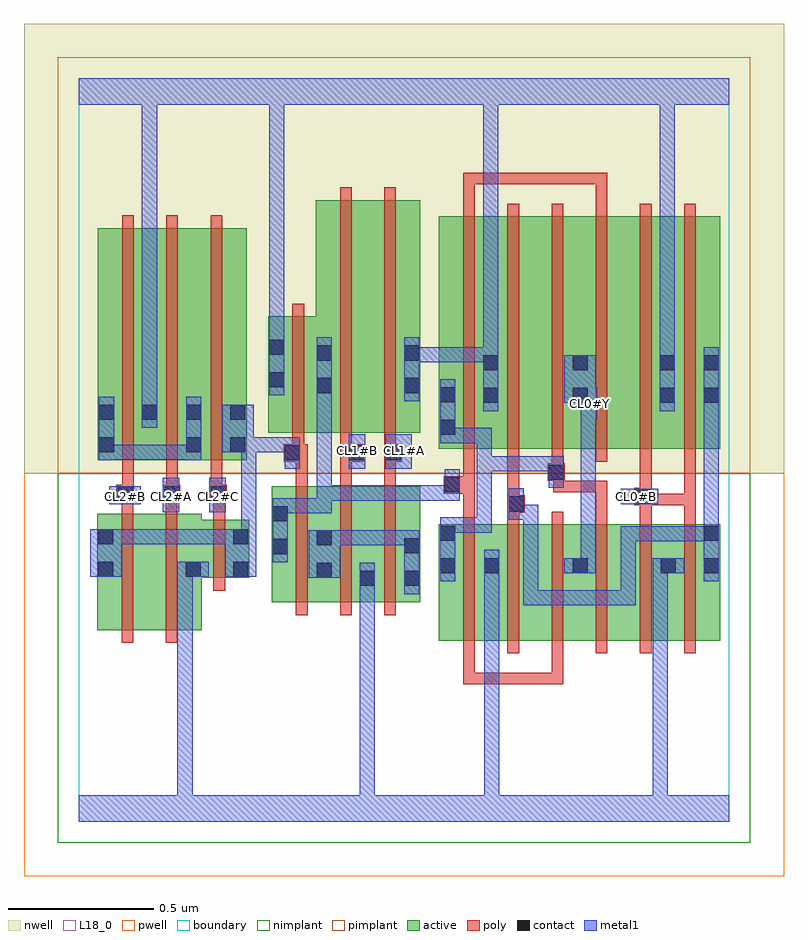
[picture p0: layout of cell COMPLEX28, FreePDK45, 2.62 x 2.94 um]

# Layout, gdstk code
import gdstk
lib = gdstk.Library(unit=1e-6, precision=1e-09)
def R(c, l, rs):  # rectangles x0, y0, x1, y1
    for r in rs: c.add(gdstk.rectangle(r[:2], r[2:], *l))
def A(c, l, x, y, w, h, nx, ny, dx, dy):  # array of equal rectangles
    R(c, l, [(x+i*dx, y+j*dy, x+i*dx+w, y+j*dy+h) for i in range(nx) for j in range(ny)])
active = (1, 0)
pwell = (2, 0)
nwell = (3, 0)
nimplant = (4, 0)
pimplant = (5, 0)
poly = (9, 0)
contact = (10, 0)
metal1 = (11, 0)
L18_0 = (18, 0)
boundary = (235, 0)

complex28 = lib.new_cell('COMPLEX28')
R(complex28, active, [(1.24,0.624,1.3,1.024), (1.24,0.624,1.452,1.024), (1.392,0.624,1.572,1.024), (1.572,0.624,1.756,1.024), (1.696,0.624,1.756,1.024), (1.696,0.624,1.876,1.024), (1.876,0.624,2.06,1.024), (2,0.624,2.208,1.024), (2,0.624,2.06,0.912), (2.148,0.624,2.208,1.024), (0.064,0.66,0.244,1.06), (0.244,0.66,0.424,1.06), (0.064,0.756,0.124,1.06), (0.664,0.756,0.724,1.156), (0.664,0.756,0.876,1.156), (0.816,0.756,1.024,1.156), (0.816,0.756,0.876,1.008), (0.964,0.756,1.176,1.156), (0.964,0.756,1.024,0.928), (1.116,0.756,1.176,1.156), (1.392,0.756,1.452,0.912), (0.364,0.84,0.588,1.04), (0.364,0.84,0.424,0.9), (0.528,0.84,0.588,1.04), (0.066,1.244,0.274,2.044), (0.066,1.244,0.126,2.044), (0.214,1.244,0.426,2.044), (0.366,1.244,0.578,2.044), (0.366,1.244,0.426,2.044), (0.518,1.244,0.578,2.044), (1.24,1.284,1.3,2.044), (1.24,1.284,1.448,2.084), (1.388,1.284,1.572,2.084), (1.572,1.284,1.756,2.084), (1.696,1.284,1.756,2.044), (1.696,1.284,1.876,2.084), (1.876,1.284,2.056,2.084), (1.996,1.284,2.056,2.044), (1.996,1.284,2.208,2.084), (2.148,1.284,2.208,2.044), (0.214,1.31,0.274,2.044), (0.652,1.34,0.712,1.74), (0.652,1.34,0.876,1.74), (0.816,1.34,0.996,2.14), (0.996,1.34,1.176,2.14), (1.116,1.34,1.176,2.14), (1.388,1.35,1.448,2.044), (0.816,1.472,0.876,1.644)])
R(complex28, pwell, [(-0.188,-0.188,2.428,1.2)])
R(complex28, nwell, [(-0.188,1.2,2.428,2.748)])
R(complex28, nimplant, [(-0.072,-0.072,2.312,1.2)])
R(complex28, pimplant, [(-0.072,1.2,2.312,2.632)])
A(complex28, poly, 1.324, 0.58, 0.04, 0.488, 6, 1, 0.152, 0)
A(complex28, poly, 0.748, 0.712, 0.04, 0.488, 3, 1, 0.152, 0)
A(complex28, poly, 0.13, 1.1, 0.06, 0.06, 3, 1, 0.16, 0)
A(complex28, poly, 0.15, 1.12, 0.04, 0.12, 3, 1, 0.152, 0)
A(complex28, poly, 0.748, 1.16, 0.04, 0.12, 3, 1, 0.152, 0)
A(complex28, poly, 0.15, 1.2, 0.04, 0.888, 3, 1, 0.152, 0)
A(complex28, poly, 1.324, 1.24, 0.04, 0.888, 6, 1, 0.152, 0)
R(complex28, poly, [(1.324,0.474,1.364,0.514), (1.324,0.474,1.364,0.514), (1.324,0.474,1.364,0.514), (1.324,0.474,1.364,0.62), (1.324,0.474,1.47,0.514), (1.43,0.474,1.47,0.514), (1.43,0.474,1.47,0.514), (1.43,0.474,1.47,0.514), (1.43,0.474,1.668,0.514), (1.628,0.474,1.668,0.514), (1.628,0.474,1.668,0.62), (0.148,0.616,0.188,1.104), (0.3,0.616,0.34,1.104), (0.464,0.796,0.504,1.084), (1.324,1.028,1.364,1.17), (1.476,1.028,1.516,1.104), (1.78,1.028,1.82,1.174), (1.932,1.028,1.972,1.13), (2.084,1.028,2.124,1.13), (0.464,1.044,0.504,1.14), (0.148,1.064,0.188,1.14), (0.3,1.064,0.34,1.14), (1.476,1.064,1.536,1.124), (1.476,1.084,1.516,1.124), (1.476,1.084,1.516,1.124), (1.476,1.084,1.516,1.28), (1.912,1.09,1.972,1.15), (1.932,1.09,2.124,1.13), (2.084,1.09,2.124,1.28), (2.084,1.09,2.124,1.13), (2.084,1.09,2.124,1.13), (2.084,1.09,2.124,1.13), (2.084,1.09,2.124,1.13), (2.084,1.09,2.124,1.13), (0.148,1.1,0.188,1.14), (0.148,1.1,0.188,1.14), (1.932,1.11,1.972,1.15), (1.932,1.11,1.972,1.15), (1.932,1.11,1.972,1.28), (0.302,1.12,0.342,1.16), (0.302,1.12,0.342,1.16), (0.454,1.12,0.494,1.16), (0.454,1.12,0.494,1.16), (1.256,1.13,1.364,1.19), (1.634,1.134,1.82,1.174), (1.634,1.134,1.674,1.214), (1.78,1.134,1.82,1.174), (1.78,1.134,1.82,1.174), (1.78,1.134,1.82,1.174), (1.324,1.15,1.364,1.19), (1.324,1.15,1.364,1.19), (1.324,1.15,1.364,1.28), (1.614,1.174,1.674,1.234), (1.634,1.174,1.674,1.214), (1.628,1.194,1.668,1.28), (0.706,1.24,0.788,1.3), (0.9,1.24,0.94,1.28), (0.9,1.24,0.94,1.28), (0.9,1.24,0.986,1.3), (1.052,1.24,1.092,1.28), (1.052,1.24,1.092,1.28), (1.052,1.24,1.112,1.3), (0.736,1.26,0.776,1.3), (0.736,1.26,0.776,1.3), (0.736,1.26,0.776,1.336), (0.9,1.26,0.94,1.336), (1.052,1.26,1.092,1.336), (0.736,1.296,0.776,1.784), (0.9,1.296,0.94,2.184), (1.052,1.296,1.092,2.184), (1.324,2.088,1.364,2.234), (1.78,2.088,1.82,2.234), (1.324,2.194,1.364,2.234), (1.324,2.194,1.364,2.234), (1.324,2.194,1.364,2.234), (1.324,2.194,1.548,2.234), (1.508,2.194,1.548,2.234), (1.508,2.194,1.548,2.234), (1.508,2.194,1.548,2.234), (1.508,2.194,1.714,2.234), (1.674,2.194,1.714,2.234), (1.674,2.194,1.82,2.234), (1.78,2.194,1.82,2.234), (1.78,2.194,1.82,2.234), (1.78,2.194,1.82,2.234)])
A(complex28, contact, 1.396, 0.856, 0.052, 0.052, 3, 1, 0.304, 0)
A(complex28, contact, 0.134, 1.104, 0.052, 0.052, 3, 1, 0.16, 0)
A(complex28, contact, 0.218, 1.384, 0.052, 0.052, 3, 1, 0.152, 0)
R(complex28, contact, [(0.968,0.812,1.02,0.864), (1.12,0.812,1.172,0.864), (0.82,0.84,0.872,0.892), (0.068,0.844,0.12,0.896), (0.368,0.844,0.42,0.896), (0.532,0.844,0.584,0.896), (1.244,0.856,1.296,0.908), (2.152,0.856,2.204,0.908), (0.668,0.922,0.72,0.974), (1.12,0.924,1.172,0.976), (0.82,0.952,0.872,1.004), (0.068,0.956,0.12,1.008), (0.532,0.956,0.584,1.008), (1.244,0.968,1.296,1.02), (2.152,0.968,2.204,1.02), (0.668,1.034,0.72,1.086), (1.48,1.068,1.532,1.12), (1.916,1.094,1.968,1.146), (1.26,1.134,1.312,1.186), (1.618,1.178,1.67,1.23), (0.71,1.244,0.762,1.296), (0.93,1.244,0.982,1.296), (1.056,1.244,1.108,1.296), (0.07,1.272,0.122,1.324), (0.37,1.272,0.422,1.324), (0.522,1.272,0.574,1.324), (1.244,1.332,1.296,1.384), (0.07,1.384,0.122,1.436), (1.392,1.442,1.444,1.494), (1.7,1.442,1.752,1.494), (2,1.442,2.052,1.494), (2.152,1.442,2.204,1.494), (1.244,1.444,1.296,1.496), (0.82,1.476,0.872,1.528), (1.12,1.476,1.172,1.528), (0.656,1.496,0.708,1.548), (1.392,1.554,1.444,1.606), (1.7,1.554,1.752,1.606), (2,1.554,2.052,1.606), (2.152,1.554,2.204,1.606), (0.82,1.588,0.872,1.64), (1.12,1.588,1.172,1.64), (0.656,1.608,0.708,1.66)])
R(complex28, metal1, [(0,0,2.24,0.092), (0.34,0.04,0.392,0.092), (0.34,0.04,0.392,0.092), (0.34,0.04,0.392,0.092), (0.34,0.04,0.392,0.092), (0.34,0.04,0.392,0.092), (0.34,0.04,0.392,0.092), (0.34,0.04,0.392,0.092), (0.34,0.04,0.392,0.092), (0.34,0.04,0.392,0.092), (0.34,0.04,0.392,0.092), (0.34,0.04,0.392,0.092), (0.34,0.04,0.392,0.092), (0.34,0.04,0.392,0.896), (0.968,0.04,1.02,0.092), (0.968,0.04,1.02,0.092), (0.968,0.04,1.02,0.836), (1.396,0.04,1.448,0.092), (1.396,0.04,1.448,0.092), (1.396,0.04,1.448,0.88), (1.976,0.04,2.028,0.908), (1.53,0.746,1.582,0.798), (1.53,0.746,1.582,0.798), (1.53,0.746,1.582,0.798), (1.53,0.746,1.698,0.798), (1.53,0.746,1.582,1.092), (1.646,0.746,1.698,0.798), (1.646,0.746,1.808,0.798), (1.756,0.746,1.808,0.798), (1.756,0.746,1.808,0.798), (1.756,0.746,1.808,0.798), (1.756,0.746,1.918,0.798), (1.866,0.746,1.918,0.798), (1.866,0.746,1.918,1.018), (0.968,0.784,1.02,0.836), (0.968,0.784,1.02,0.836), (0.968,0.784,1.02,0.836), (0.968,0.784,1.02,0.836), (0.968,0.784,1.02,0.836), (0.968,0.784,1.02,0.836), (0.968,0.784,1.02,0.836), (0.968,0.784,1.02,0.836), (0.968,0.784,1.02,0.836), (0.968,0.784,1.02,0.836), (0.968,0.784,1.02,0.892), (1.12,0.784,1.172,1.004), (1.244,0.828,1.296,1.048), (1.396,0.828,1.448,0.88), (1.396,0.828,1.448,0.88), (1.396,0.828,1.448,0.88), (1.396,0.828,1.448,0.88), (1.396,0.828,1.448,0.88), (1.396,0.828,1.448,0.88), (1.396,0.828,1.448,0.88), (1.396,0.828,1.448,0.88), (1.396,0.828,1.448,0.88), (1.396,0.828,1.448,0.88), (1.396,0.828,1.448,0.936), (2.152,0.828,2.204,1.048), (0.792,0.84,0.9,1.004), (0.04,0.844,0.148,1.008), (0.34,0.844,0.448,0.896), (0.504,0.844,0.612,1.008), (1.672,0.856,1.78,0.908), (1.728,0.856,1.78,1.438), (1.976,0.856,2.028,0.908), (1.976,0.856,2.028,0.908), (1.976,0.856,2.028,0.908), (1.976,0.856,2.028,0.908), (1.976,0.856,2.028,0.908), (1.976,0.856,2.028,0.908), (1.976,0.856,2.028,0.908), (1.976,0.856,2.028,0.908), (1.976,0.856,2.028,0.908), (1.976,0.856,2.028,0.908), (1.976,0.856,2.028,0.908), (1.976,0.856,2.028,0.908), (1.976,0.856,2.084,0.908), (0.668,0.894,0.72,1.114), (0.848,0.952,0.9,1.004), (0.848,0.952,0.9,1.004), (0.848,0.952,1.01,1.004), (0.958,0.952,1.01,1.004), (0.958,0.952,1.01,1.004), (0.958,0.952,1.01,1.004), (0.958,0.952,1.01,1.004), (0.958,0.952,1.01,1.004), (0.958,0.952,1.172,1.004), (0.096,0.956,0.148,1.008), (0.096,0.956,0.148,1.008), (0.096,0.956,0.282,1.008), (0.23,0.956,0.282,1.008), (0.23,0.956,0.282,1.008), (0.23,0.956,0.282,1.008), (0.23,0.956,0.436,1.008), (0.384,0.956,0.436,1.008), (0.384,0.956,0.436,1.008), (0.384,0.956,0.436,1.008), (0.384,0.956,0.556,1.008), (0.56,0.956,0.612,1.324), (1.866,0.966,1.918,1.018), (1.866,0.966,1.918,1.018), (1.866,0.966,1.918,1.018), (1.866,0.966,2.028,1.018), (1.976,0.966,2.028,1.018), (1.976,0.966,2.204,1.018), (2.152,0.966,2.204,1.018), (2.152,0.966,2.204,1.018), (1.244,0.996,1.422,1.048), (1.37,0.996,1.422,1.048), (1.37,0.996,1.422,1.048), (1.37,0.996,1.422,1.048), (1.37,0.996,1.422,1.258), (2.152,0.996,2.204,1.048), (2.152,0.996,2.204,1.048), (2.152,0.996,2.204,1.466), (1.48,1.04,1.532,1.148), (1.48,1.04,1.582,1.092), (1.53,1.04,1.582,1.092), (0.668,1.062,0.762,1.114), (0.71,1.062,0.762,1.114), (0.71,1.062,0.872,1.114), (0.82,1.062,0.872,1.114), (0.82,1.062,0.872,1.158), (0.29,1.066,0.346,1.184), (0.45,1.066,0.506,1.184), (0.106,1.094,0.214,1.156), (1.866,1.094,1.996,1.146), (0.82,1.106,0.872,1.158), (0.82,1.106,0.872,1.158), (0.82,1.106,0.872,1.158), (0.82,1.106,0.872,1.158), (0.82,1.106,0.872,1.158), (0.82,1.106,1.044,1.158), (0.82,1.106,0.872,1.5), (0.992,1.106,1.044,1.158), (0.992,1.106,1.044,1.158), (0.992,1.106,1.044,1.158), (0.992,1.106,1.154,1.158), (1.102,1.106,1.154,1.158), (1.102,1.106,1.312,1.158), (1.26,1.106,1.312,1.158), (1.26,1.106,1.312,1.158), (1.26,1.106,1.312,1.214), (1.618,1.15,1.67,1.258), (1.37,1.206,1.422,1.258), (1.37,1.206,1.422,1.258), (1.37,1.206,1.422,1.258), (1.37,1.206,1.558,1.258), (1.37,1.206,1.422,1.356), (1.506,1.206,1.558,1.258), (1.506,1.206,1.558,1.258), (1.506,1.206,1.558,1.258), (1.506,1.206,1.67,1.258), (0.71,1.216,0.762,1.324), (0.93,1.216,0.986,1.334), (1.056,1.216,1.146,1.334), (0.07,1.244,0.122,1.464), (0.37,1.244,0.422,1.464), (0.07,1.246,0.122,1.298), (0.07,1.246,0.122,1.298), (0.07,1.246,0.282,1.298), (0.23,1.246,0.282,1.298), (0.23,1.246,0.282,1.298), (0.23,1.246,0.282,1.298), (0.23,1.246,0.422,1.298), (0.494,1.272,0.602,1.436), (0.55,1.272,0.602,1.324), (0.55,1.272,0.612,1.324), (0.56,1.272,0.612,1.324), (0.56,1.272,0.612,1.324), (0.56,1.272,0.734,1.324), (0.682,1.272,0.734,1.324), (0.682,1.272,0.762,1.324), (1.244,1.304,1.296,1.356), (1.244,1.304,1.296,1.356), (1.244,1.304,1.296,1.524), (1.244,1.304,1.422,1.356), (1.37,1.304,1.422,1.356), (0.218,1.356,0.27,1.464), (1.728,1.386,1.786,1.494), (0.218,1.412,0.27,2.52), (1.392,1.414,1.444,1.634), (2,1.414,2.052,1.634), (2.152,1.414,2.204,1.466), (2.152,1.414,2.204,1.466), (2.152,1.414,2.204,1.634), (1.672,1.442,1.78,1.606), (1.728,1.442,1.78,1.494), (1.728,1.442,1.78,1.494), (1.728,1.442,1.78,1.494), (0.82,1.448,0.872,1.668), (1.12,1.448,1.172,1.668), (0.656,1.468,0.708,1.688), (1.12,1.582,1.172,1.634), (1.12,1.582,1.172,1.634), (1.12,1.582,1.422,1.634), (1.37,1.582,1.422,1.634), (1.37,1.582,1.444,1.634), (1.392,1.582,1.444,2.52), (2,1.582,2.052,1.634), (2,1.582,2.052,1.634), (2,1.582,2.052,1.634), (2,1.582,2.052,1.634), (2,1.582,2.052,1.634), (2,1.582,2.052,1.634), (2,1.582,2.052,1.634), (2,1.582,2.052,1.634), (2,1.582,2.052,2.52), (0.656,1.636,0.708,2.52), (0,2.468,2.24,2.56), (0.218,2.468,0.27,2.52), (0.218,2.468,0.27,2.52), (0.218,2.468,0.27,2.52), (0.218,2.468,0.27,2.52), (0.218,2.468,0.27,2.52), (0.218,2.468,0.27,2.52), (0.218,2.468,0.27,2.52), (0.218,2.468,0.27,2.52), (0.656,2.468,0.708,2.52), (0.656,2.468,0.708,2.52), (0.656,2.468,0.708,2.52), (0.656,2.468,0.708,2.52), (0.656,2.468,0.708,2.52), (0.656,2.468,0.708,2.52), (0.656,2.468,0.708,2.52), (0.656,2.468,0.708,2.52), (0.656,2.468,0.708,2.52), (0.656,2.468,0.708,2.52), (0.656,2.468,0.708,2.52), (0.656,2.468,0.708,2.52), (0.656,2.468,0.708,2.52), (0.656,2.468,0.708,2.52), (0.656,2.468,0.708,2.52), (0.656,2.468,0.708,2.52), (1.392,2.468,1.444,2.52), (1.392,2.468,1.444,2.52), (1.392,2.468,1.444,2.52), (1.392,2.468,1.444,2.52), (1.392,2.468,1.444,2.52), (1.392,2.468,1.444,2.52), (1.392,2.468,1.444,2.52), (1.392,2.468,1.444,2.52)])
A(complex28, L18_0, 0.134, 1.094, 0.052, 0.052, 3, 1, 0.16, 0)
R(complex28, L18_0, [(0,0,2.24,0.092), (0.34,0.04,0.392,0.092), (0.34,0.04,0.392,0.092), (0.34,0.04,0.392,0.092), (0.34,0.04,0.392,0.092), (0.34,0.04,0.392,0.092), (0.34,0.04,0.392,0.092), (0.34,0.04,0.392,0.092), (0.34,0.04,0.392,0.092), (0.34,0.04,0.392,0.092), (0.34,0.04,0.392,0.092), (0.34,0.04,0.392,0.092), (0.34,0.04,0.392,0.092), (0.34,0.04,0.392,0.896), (0.968,0.04,1.02,0.092), (0.968,0.04,1.02,0.092), (0.968,0.04,1.02,0.836), (1.396,0.04,1.448,0.092), (1.396,0.04,1.448,0.092), (1.396,0.04,1.448,0.88), (1.976,0.04,2.028,0.908), (0.968,0.784,1.02,0.892), (0.968,0.784,1.02,0.836), (0.968,0.784,1.02,0.836), (0.968,0.784,1.02,0.836), (0.968,0.784,1.02,0.836), (0.968,0.784,1.02,0.836), (0.968,0.784,1.02,0.836), (0.968,0.784,1.02,0.836), (0.968,0.784,1.02,0.836), (0.968,0.784,1.02,0.836), (0.968,0.784,1.02,0.836), (1.396,0.828,1.448,0.936), (1.396,0.828,1.448,0.88), (1.396,0.828,1.448,0.88), (1.396,0.828,1.448,0.88), (1.396,0.828,1.448,0.88), (1.396,0.828,1.448,0.88), (1.396,0.828,1.448,0.88), (1.396,0.828,1.448,0.88), (1.396,0.828,1.448,0.88), (1.396,0.828,1.448,0.88), (1.396,0.828,1.448,0.88), (0.34,0.844,0.448,0.896), (1.672,0.856,1.78,0.908), (1.728,0.856,1.78,1.438), (1.976,0.856,2.028,0.908), (1.976,0.856,2.028,0.908), (1.976,0.856,2.028,0.908), (1.976,0.856,2.028,0.908), (1.976,0.856,2.028,0.908), (1.976,0.856,2.028,0.908), (1.976,0.856,2.028,0.908), (1.976,0.856,2.028,0.908), (1.976,0.856,2.028,0.908), (1.976,0.856,2.028,0.908), (1.976,0.856,2.028,0.908), (1.976,0.856,2.028,0.908), (1.976,0.856,2.084,0.908), (0.29,1.066,0.346,1.184), (0.45,1.066,0.506,1.184), (0.106,1.094,0.214,1.156), (1.866,1.094,1.996,1.146), (1.894,1.094,1.946,1.146), (0.93,1.216,0.986,1.334), (1.056,1.216,1.146,1.334), (0.934,1.254,0.986,1.306), (1.094,1.254,1.146,1.306), (0.218,1.356,0.27,1.464), (1.728,1.386,1.786,1.494), (0.218,1.412,0.27,2.52), (1.392,1.414,1.444,1.634), (1.734,1.414,1.786,1.466), (2,1.414,2.052,1.634), (1.672,1.442,1.78,1.606), (1.728,1.442,1.78,1.494), (1.728,1.442,1.78,1.494), (1.728,1.442,1.78,1.494), (1.12,1.448,1.172,1.668), (0.656,1.468,0.708,1.688), (1.12,1.582,1.172,1.634), (1.12,1.582,1.172,1.634), (1.12,1.582,1.422,1.634), (1.37,1.582,1.422,1.634), (1.37,1.582,1.444,1.634), (1.392,1.582,1.444,2.52), (2,1.582,2.052,1.634), (2,1.582,2.052,1.634), (2,1.582,2.052,1.634), (2,1.582,2.052,1.634), (2,1.582,2.052,1.634), (2,1.582,2.052,1.634), (2,1.582,2.052,1.634), (2,1.582,2.052,1.634), (2,1.582,2.052,2.52), (0.656,1.636,0.708,2.52), (0,2.468,2.24,2.56), (0.218,2.468,0.27,2.52), (0.218,2.468,0.27,2.52), (0.218,2.468,0.27,2.52), (0.218,2.468,0.27,2.52), (0.218,2.468,0.27,2.52), (0.218,2.468,0.27,2.52), (0.218,2.468,0.27,2.52), (0.218,2.468,0.27,2.52), (0.656,2.468,0.708,2.52), (0.656,2.468,0.708,2.52), (0.656,2.468,0.708,2.52), (0.656,2.468,0.708,2.52), (0.656,2.468,0.708,2.52), (0.656,2.468,0.708,2.52), (0.656,2.468,0.708,2.52), (0.656,2.468,0.708,2.52), (0.656,2.468,0.708,2.52), (0.656,2.468,0.708,2.52), (0.656,2.468,0.708,2.52), (0.656,2.468,0.708,2.52), (0.656,2.468,0.708,2.52), (0.656,2.468,0.708,2.52), (0.656,2.468,0.708,2.52), (0.656,2.468,0.708,2.52), (1.392,2.468,1.444,2.52), (1.392,2.468,1.444,2.52), (1.392,2.468,1.444,2.52), (1.392,2.468,1.444,2.52), (1.392,2.468,1.444,2.52), (1.392,2.468,1.444,2.52), (1.392,2.468,1.444,2.52), (1.392,2.468,1.444,2.52)])
R(complex28, boundary, [(0,0,2.24,2.56)])
complex28.add(gdstk.Label('CL0#B', (1.92,1.12), layer=11, texttype=0))
complex28.add(gdstk.Label('CL0#Y', (1.76,1.44), layer=11, texttype=0))
complex28.add(gdstk.Label('CL1#A', (1.12,1.28), layer=11, texttype=0))
complex28.add(gdstk.Label('CL1#B', (0.96,1.28), layer=11, texttype=0))
complex28.add(gdstk.Label('CL2#A', (0.32,1.12), layer=11, texttype=0))
complex28.add(gdstk.Label('CL2#B', (0.16,1.12), layer=11, texttype=0))
complex28.add(gdstk.Label('CL2#C', (0.48,1.12), layer=11, texttype=0))

lib.write_gds('COMPLEX28.gds')
